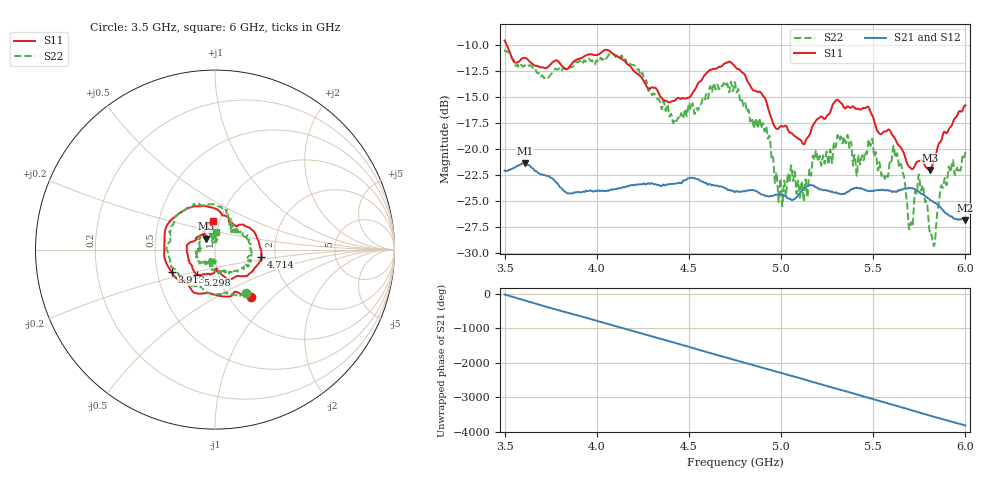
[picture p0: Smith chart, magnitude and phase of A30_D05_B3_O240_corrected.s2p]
! Created with skrf 1.9.0 (http://scikit-rf.org).
# Hz S RI R 50.0
!freq ReS11 ImS11 ReS21 ImS21 ReS12 ImS12 ReS22 ImS22
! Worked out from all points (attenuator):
!   1601 points, 3.5 GHz to 6 GHz, reference 50 ohm
!   highest |S21| = -21.38 dB at 3.609 GHz (marker M1); lowest = -26.8 dB at 5.997 GHz (marker M2)
!   lowest |S11| = -22.0 dB at 5.806 GHz (marker M3), VSWR 1.17, Z = 44.9 + j5.54 ohm
!   |S11| at or under -10 dB: 3.512 GHz to end of sweep
!   |S22| runs from -29.3 to -10.5 dB; largest |S21 - S12| = 0.0009
!   S11 on the Smith chart (normalised r, x): 3.5 GHz: 1.26, -0.75; 3.913 GHz: 0.59, -0.16; 4.714 GHz: 1.69, -0.14; 5.298 GHz: 0.79, -0.23; 6 GHz: 0.93, +0.31
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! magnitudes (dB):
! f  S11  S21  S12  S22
! 3.5 GHz  -9.6  -22.1  -22.1  -10.5
! 3.609 GHz  -11.2  -21.4  -21.4  -12.0
! 3.913 GHz  -11.3  -24.2  -24.1  -11.6
! 3.917 GHz  -11.3  -24.2  -24.1  -11.8
! 4.142 GHz  -11.4  -23.7  -23.7  -11.4
! 4.334 GHz  -14.6  -23.5  -23.4  -15.2
! 4.423 GHz  -15.4  -23.3  -23.3  -17.1
! 4.714 GHz  -11.7  -24.0  -24.0  -14.2
! 4.75 GHz  -12.1  -24.1  -24.1  -13.6
! 4.928 GHz  -16.0  -24.5  -24.5  -19.0
! 4.997 GHz  -17.8  -24.4  -24.4  -22.8
! 5.167 GHz  -18.0  -23.5  -23.5  -21.7
! 5.298 GHz  -15.3  -24.2  -24.2  -19.6
! 5.584 GHz  -18.1  -24.0  -24.0  -22.0
! 5.641 GHz  -19.7  -24.0  -24.0  -21.8
! 5.703 GHz  -21.8  -23.8  -23.8  -27.1
! 5.756 GHz  -21.1  -24.3  -24.2  -23.8
! 5.806 GHz  -22.0  -24.9  -24.8  -27.9
! 5.828 GHz  -21.2  -25.1  -25.1  -29.3
! 5.877 GHz  -18.7  -25.9  -25.8  -23.7
! 5.997 GHz  -15.8  -26.8  -26.7  -20.7
! 6 GHz  -15.8  -26.8  -26.8  -20.3
